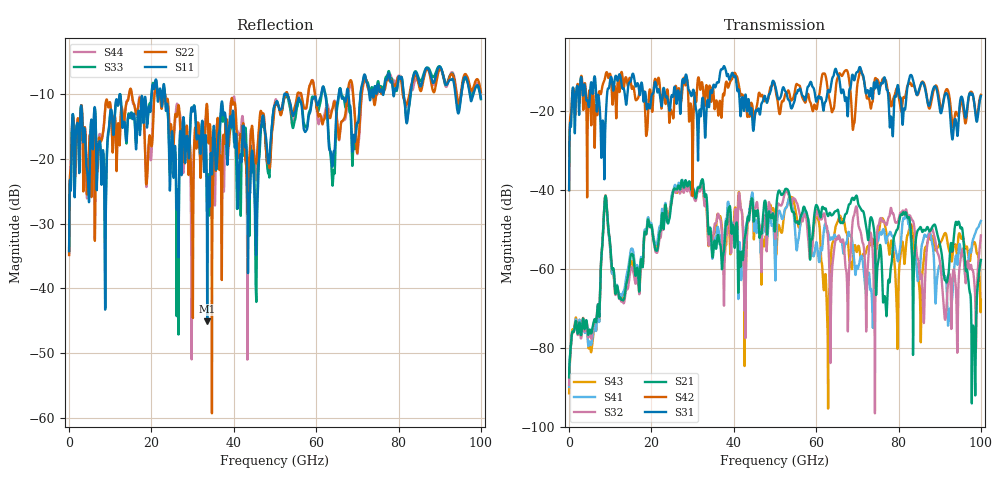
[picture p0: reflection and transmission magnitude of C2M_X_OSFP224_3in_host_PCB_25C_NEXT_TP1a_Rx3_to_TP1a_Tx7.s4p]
# GHz S RI R 45
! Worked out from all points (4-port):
!   4000 points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, 25 MHz to 100 GHz, reference 45 ohm
!   strongest paths, dB at 25 MHz, 25.02 GHz, 50.02 GHz, 75.03 GHz, 100 GHz:
!     S31: -40.1, -16.1, -13.5, -14.0, -16.2
!     S42: -40.1, -20.6, -13.9, -12.3, -15.9
!     S21: -87.5, -42.1, -50.1, -58.5, -57.7
!     S32: -89.3, -42.5, -52.0, -49.1, -51.5
!     S41: -89.9, -40.9, -60.0, -52.9, -47.9
!     S43: -91.5, -41.4, -49.6, -51.7, -67.8
!   lowest |S11| = -45.1 dB at 33.55 GHz (marker M1), VSWR 1.01, Z = 45.2 - j0.446 ohm
!   |S11| at or under -10 dB: start of sweep to 12.31 GHz; 23.28 GHz to 52.27 GHz (29 GHz wide, 76.8 % of centre); 53.01 GHz to 61.22 GHz (8.214 GHz wide, 14.4 % of centre)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
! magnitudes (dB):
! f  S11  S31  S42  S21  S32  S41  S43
! 25 MHz  -34.2  -40.1  -40.1  -87.5  -89.3  -89.9  -91.5
! 5.525 GHz  -14.3  -13.3  -19.7  -75.9  -77.2  -78.5  -80.1
! 8.85 GHz  -33.7  -23.2  -11.1  -41.5  -41.4  -41.5  -41.4
! 13 GHz  -15.2  -14.4  -11.5  -67.9  -68.2  -66.2  -66.7
! 33.55 GHz  -45.1  -17.6  -14.6  -44.1  -46.9  -44.9  -47.6
! 92.38 GHz  -7.8  -19.0  -16.6  -58.0  -61.2  -70.0  -55.6
! 100 GHz  -10.6  -16.2  -15.9  -57.7  -51.5  -47.9  -67.8
